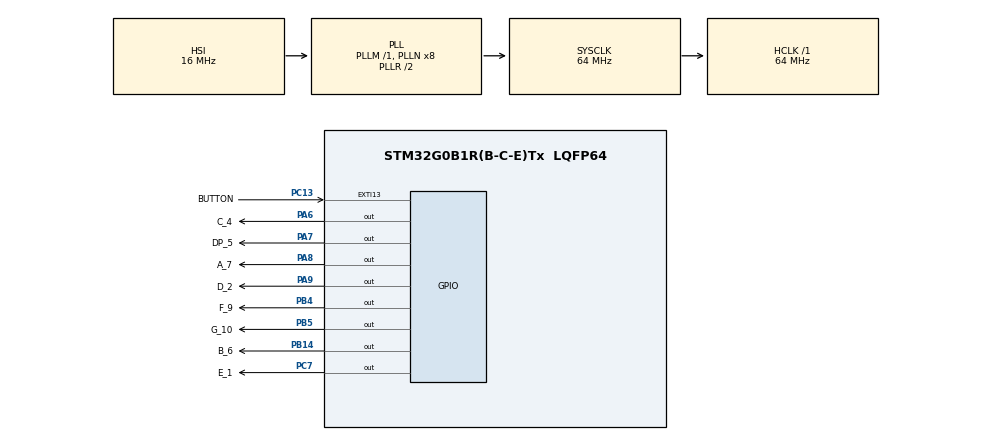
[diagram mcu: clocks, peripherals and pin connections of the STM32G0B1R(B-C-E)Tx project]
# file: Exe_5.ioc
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Mcu.Family=STM32G0
Mcu.Name=STM32G0B1R(B-C-E)Tx
Mcu.Package=LQFP64
NVIC.EXTI4_15_IRQn=true\:0\:0\:false\:false\:true\:true\:true
PA13.Mode=Serial_Wire
PA13.Signal=SYS_SWDIO
PA14-BOOT0.Mode=Serial_Wire
PA14-BOOT0.Signal=SYS_SWCLK
PA6.GPIO_Label=C_4
PA6.Signal=GPIO_Output
PA7.GPIO_Label=DP_5
PA7.Signal=GPIO_Output
PA8.GPIO_Label=A_7
PA8.Signal=GPIO_Output
PA9.GPIO_Label=D_2
PA9.Signal=GPIO_Output
PB14.GPIO_Label=B_6
PB14.Signal=GPIO_Output
PB4.GPIO_Label=F_9
PB4.Signal=GPIO_Output
PB5.GPIO_Label=G_10
PB5.Signal=GPIO_Output
PC13.GPIO_Label=BUTTON
PC13.GPIO_ModeDefaultEXTI=GPIO_MODE_IT_RISING
PC13.Signal=GPXTI13
PC7.GPIO_Label=E_1
PC7.Signal=GPIO_Output
ProjectManager.HeapSize=0x200
ProjectManager.StackSize=0x400
ProjectManager.TargetToolchain=STM32CubeIDE
RCC.ADCFreq_Value=64000000
RCC.AHBFreq_Value=64000000
RCC.CortexFreq_Value=64000000
RCC.EXTERNAL_CLOCK_VALUE=48000
RCC.HCLKFreq_Value=64000000
RCC.HSE_VALUE=8000000
RCC.HSI48_VALUE=48000000
RCC.HSI_VALUE=16000000
RCC.LSE_VALUE=32768
RCC.SYSCLKFreq_VALUE=64000000
RCC.SYSCLKSource=RCC_SYSCLKSOURCE_PLLCLK
RCC.USBFreq_Value=48000000
RCC.VCOOutputFreq_Value=128000000
VP_SYS_VS_DBSignals.Mode=DisableDeadBatterySignals
board=custom

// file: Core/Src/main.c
/* USER CODE BEGIN Header */
/**
  ******************************************************************************
  * @file           : main.c
  * @brief          : Main program body
  ******************************************************************************
  * @attention
  *
  * Copyright (c) 2022 STMicroelectronics.
  * All rights reserved.
  *
  * This software is licensed under terms that can be found in the LICENSE file
  * in the root directory of this software component.
  * If no LICENSE file comes with this software, it is provided AS-IS.
  *
  ******************************************************************************
  */
/* USER CODE END Header */
#include "main.h"

/* USER CODE BEGIN Includes */
#include <stdint.h>
/* USER CODE END Includes */

/* USER CODE BEGIN PTD */
	uint16_t Contador = 0;
/* USER CODE END PTD */

void SystemClock_Config(void);
static void MX_GPIO_Init(void);

/* USER CODE BEGIN 0 */
void HAL_GPIO_EXTI_Rising_Callback(uint16_t GPIO_Pin){
	HAL_GPIO_WritePin(BUTTON_GPIO_Port, BUTTON_Pin, GPIO_PIN_RESET);
	Contador++;

	if(Contador > 9){
		Contador = 0;
	}
}
/* USER CODE END 0 */

int main(void)
{

  /* MCU Configuration--------------------------------------------------------*/

  /* Reset of all peripherals, Initializes the Flash interface and the Systick. */
  HAL_Init();

  /* Configure the system clock */
  SystemClock_Config();

  /* Initialize all configured peripherals */
  MX_GPIO_Init();

  /* Infinite loop */
  /* USER CODE BEGIN WHILE */
  while (1)
  {

	  HAL_Delay(1);

	  switch(Contador) {
	  	  case 0:
	  	  		HAL_GPIO_WritePin(A_7_GPIO_Port, A_7_Pin, 1);
	  	  	  	HAL_GPIO_WritePin(B_6_GPIO_Port, B_6_Pin, 1);
	  	  	  	HAL_GPIO_WritePin(C_4_GPIO_Port, C_4_Pin, 1);
	  	  	  	HAL_GPIO_WritePin(D_2_GPIO_Port, D_2_Pin, 1);
	  	  	  	HAL_GPIO_WritePin(E_1_GPIO_Port, E_1_Pin, 1);
	  	  	  	HAL_GPIO_WritePin(F_9_GPIO_Port, F_9_Pin, 1);
	  	  	  	HAL_GPIO_WritePin(G_10_GPIO_Port, G_10_Pin, 0);
	  	  	  	HAL_GPIO_WritePin(DP_5_GPIO_Port, DP_5_Pin, 0);

	  	  break;

	  	  case 1:
	  	  	  		HAL_GPIO_WritePin(A_7_GPIO_Port, A_7_Pin, 0);
	  	  	  		HAL_GPIO_WritePin(B_6_GPIO_Port, B_6_Pin, 1);
	  	  	  		HAL_GPIO_WritePin(C_4_GPIO_Port, C_4_Pin, 1);
	  	  	  		HAL_GPIO_WritePin(D_2_GPIO_Port, D_2_Pin, 0);
	  	  	  		HAL_GPIO_WritePin(E_1_GPIO_Port, E_1_Pin, 0);
	  	  	  		HAL_GPIO_WritePin(F_9_GPIO_Port, F_9_Pin, 0);
	  	  	  		HAL_GPIO_WritePin(G_10_GPIO_Port, G_10_Pin, 0);
	  	  	  		HAL_GPIO_WritePin(DP_5_GPIO_Port, DP_5_Pin, 0);

	  	  	  		  break;

	  	  	  	  case 2:
	  	  	  		HAL_GPIO_WritePin(A_7_GPIO_Port, A_7_Pin, 1);
	  	  	  		HAL_GPIO_WritePin(B_6_GPIO_Port, B_6_Pin, 1);
	  	  	  		HAL_GPIO_WritePin(C_4_GPIO_Port, C_4_Pin, 0);
	  	  	  		HAL_GPIO_WritePin(D_2_GPIO_Port, D_2_Pin, 1);
	  	  	  		HAL_GPIO_WritePin(E_1_GPIO_Port, E_1_Pin, 1);
	  	  	  		HAL_GPIO_WritePin(F_9_GPIO_Port, F_9_Pin, 0);
	  	  	  		HAL_GPIO_WritePin(G_10_GPIO_Port, G_10_Pin, 1);
	  	  	  		HAL_GPIO_WritePin(DP_5_GPIO_Port, DP_5_Pin, 0);

	  	  	  		  break;

	  	  	  	  case 3:
	  	  	  		HAL_GPIO_WritePin(A_7_GPIO_Port, A_7_Pin, 1);
	  	  	  		HAL_GPIO_WritePin(B_6_GPIO_Port, B_6_Pin, 0);
	  	  	  		HAL_GPIO_WritePin(C_4_GPIO_Port, C_4_Pin, 0);
	  	  	  		HAL_GPIO_WritePin(D_2_GPIO_Port, D_2_Pin, 1);
	  	  	  		HAL_GPIO_WritePin(E_1_GPIO_Port, E_1_Pin, 1);
	  	  	  		HAL_GPIO_WritePin(F_9_GPIO_Port, F_9_Pin, 1);
	  				HAL_GPIO_WritePin(G_10_GPIO_Port, G_10_Pin, 1);
	  				HAL_GPIO_WritePin(DP_5_GPIO_Port, DP_5_Pin, 0);

	  	  	  		  break;

	  	  	  	  case 4:
	  	  	  		HAL_GPIO_WritePin(A_7_GPIO_Port, A_7_Pin, 0);
	  				HAL_GPIO_WritePin(B_6_GPIO_Port, B_6_Pin, 0);
	  				HAL_GPIO_WritePin(C_4_GPIO_Port, C_4_Pin, 1);
	  				HAL_GPIO_WritePin(D_2_GPIO_Port, D_2_Pin, 0);
	  				HAL_GPIO_WritePin(E_1_GPIO_Port, E_1_Pin, 1);
	  				HAL_GPIO_WritePin(F_9_GPIO_Port, F_9_Pin, 1);
	  				HAL_GPIO_WritePin(G_10_GPIO_Port, G_10_Pin, 1);
	  				HAL_GPIO_WritePin(DP_5_GPIO_Port, DP_5_Pin, 0);

	  	  	  		  break;

	  	  	  	  case 5:
	  	  	  		HAL_GPIO_WritePin(A_7_GPIO_Port, A_7_Pin, 1);
	  				HAL_GPIO_WritePin(B_6_GPIO_Port, B_6_Pin, 0);
	  				HAL_GPIO_WritePin(C_4_GPIO_Port, C_4_Pin, 1);
	  				HAL_GPIO_WritePin(D_2_GPIO_Port, D_2_Pin, 1);
	  				HAL_GPIO_WritePin(E_1_GPIO_Port, E_1_Pin, 0);
	  				HAL_GPIO_WritePin(F_9_GPIO_Port, F_9_Pin, 1);
	  				HAL_GPIO_WritePin(G_10_GPIO_Port, G_10_Pin, 1);
	  				HAL_GPIO_WritePin(DP_5_GPIO_Port, DP_5_Pin, 0);

	  	  	  		  break;

	  	  	  	  case 6:
	  	  	  		HAL_GPIO_WritePin(A_7_GPIO_Port, A_7_Pin, 1);
	  				HAL_GPIO_WritePin(B_6_GPIO_Port, B_6_Pin, 1);
	  				HAL_GPIO_WritePin(C_4_GPIO_Port, C_4_Pin, 1);
	  				HAL_GPIO_WritePin(D_2_GPIO_Port, D_2_Pin, 1);
	  				HAL_GPIO_WritePin(E_1_GPIO_Port, E_1_Pin, 0);
	  				HAL_GPIO_WritePin(F_9_GPIO_Port, F_9_Pin, 1);
	  				HAL_GPIO_WritePin(G_10_GPIO_Port, G_10_Pin, 1);
	  				HAL_GPIO_WritePin(DP_5_GPIO_Port, DP_5_Pin, 0);

	  	  	  		  break;

	  	  	  	  case 7:
	  	  	  		HAL_GPIO_WritePin(A_7_GPIO_Port, A_7_Pin, 0);
	  				HAL_GPIO_WritePin(B_6_GPIO_Port, B_6_Pin, 0);
	  				HAL_GPIO_WritePin(C_4_GPIO_Port, C_4_Pin, 0);
	  				HAL_GPIO_WritePin(D_2_GPIO_Port, D_2_Pin, 1);
	  				HAL_GPIO_WritePin(E_1_GPIO_Port, E_1_Pin, 1);
	  				HAL_GPIO_WritePin(F_9_GPIO_Port, F_9_Pin, 1);
	  				HAL_GPIO_WritePin(G_10_GPIO_Port, G_10_Pin, 0);
	  				HAL_GPIO_WritePin(DP_5_GPIO_Port, DP_5_Pin, 0);

	  	  	  		  break;

	  	  	  	  case 8:
	  	  	  		  HAL_GPIO_WritePin(A_7_GPIO_Port, A_7_Pin, 1);
	  	  	  		  HAL_GPIO_WritePin(B_6_GPIO_Port, B_6_Pin, 1);
	  	  	  		  HAL_GPIO_WritePin(C_4_GPIO_Port, C_4_Pin, 1);
	  	  	  		  HAL_GPIO_WritePin(D_2_GPIO_Port, D_2_Pin, 1);
	  	  	  		  HAL_GPIO_WritePin(E_1_GPIO_Port, E_1_Pin, 1);
	  	  	  		  HAL_GPIO_WritePin(F_9_GPIO_Port, F_9_Pin, 1);
	  	  	  		  HAL_GPIO_WritePin(G_10_GPIO_Port, G_10_Pin, 1);
	  	  	  		  HAL_GPIO_WritePin(DP_5_GPIO_Port, DP_5_Pin, 0);

	  	  	  		  break;

	  	  	  	  case 9:
	  	  	  		  HAL_GPIO_WritePin(A_7_GPIO_Port, A_7_Pin, 1);
	  	  	  		  HAL_GPIO_WritePin(B_6_GPIO_Port, B_6_Pin, 0);
	  	  	  		  HAL_GPIO_WritePin(C_4_GPIO_Port, C_4_Pin, 1);
	  	  	  		  HAL_GPIO_WritePin(D_2_GPIO_Port, D_2_Pin, 1);
	  	  	  		  HAL_GPIO_WritePin(E_1_GPIO_Port, E_1_Pin, 1);
	  	  	  		  HAL_GPIO_WritePin(F_9_GPIO_Port, F_9_Pin, 1);
	  	  	  		  HAL_GPIO_WritePin(G_10_GPIO_Port, G_10_Pin, 1);
	  	  	  		  HAL_GPIO_WritePin(DP_5_GPIO_Port, DP_5_Pin, 0);

	  	  	  		  break;
	  	  	  	  default:

	  	  	  		  break;
	  }

    /* USER CODE END WHILE */

  }
}

void SystemClock_Config(void)
{
  RCC_OscInitTypeDef RCC_OscInitStruct = {0};
  RCC_ClkInitTypeDef RCC_ClkInitStruct = {0};

  /** Configure the main internal regulator output voltage
  */
  HAL_PWREx_ControlVoltageScaling(PWR_REGULATOR_VOLTAGE_SCALE1);
  /** Initializes the RCC Oscillators according to the specified parameters
  * in the RCC_OscInitTypeDef structure.
  */
  RCC_OscInitStruct.OscillatorType = RCC_OSCILLATORTYPE_HSI;
  RCC_OscInitStruct.HSIState = RCC_HSI_ON;
  RCC_OscInitStruct.HSIDiv = RCC_HSI_DIV1;
  RCC_OscInitStruct.HSICalibrationValue = RCC_HSICALIBRATION_DEFAULT;
  RCC_OscInitStruct.PLL.PLLState = RCC_PLL_ON;
  RCC_OscInitStruct.PLL.PLLSource = RCC_PLLSOURCE_HSI;
  RCC_OscInitStruct.PLL.PLLM = RCC_PLLM_DIV1;
  RCC_OscInitStruct.PLL.PLLN = 8;
  RCC_OscInitStruct.PLL.PLLP = RCC_PLLP_DIV2;
  RCC_OscInitStruct.PLL.PLLQ = RCC_PLLQ_DIV2;
  RCC_OscInitStruct.PLL.PLLR = RCC_PLLR_DIV2;
  if (HAL_RCC_OscConfig(&RCC_OscInitStruct) != HAL_OK)
  {
    Error_Handler();
  }
  /** Initializes the CPU, AHB and APB buses clocks
  */
  RCC_ClkInitStruct.ClockType = RCC_CLOCKTYPE_HCLK|RCC_CLOCKTYPE_SYSCLK
                              |RCC_CLOCKTYPE_PCLK1;
  RCC_ClkInitStruct.SYSCLKSource = RCC_SYSCLKSOURCE_PLLCLK;
  RCC_ClkInitStruct.AHBCLKDivider = RCC_SYSCLK_DIV1;
  RCC_ClkInitStruct.APB1CLKDivider = RCC_HCLK_DIV1;

  if (HAL_RCC_ClockConfig(&RCC_ClkInitStruct, FLASH_LATENCY_2) != HAL_OK)
  {
    Error_Handler();
  }
}

static void MX_GPIO_Init(void)
{
  GPIO_InitTypeDef GPIO_InitStruct = {0};

  /* GPIO Ports Clock Enable */
  __HAL_RCC_GPIOC_CLK_ENABLE();
  __HAL_RCC_GPIOA_CLK_ENABLE();
  __HAL_RCC_GPIOB_CLK_ENABLE();

  /*Configure GPIO pin Output Level */
  HAL_GPIO_WritePin(GPIOA, C_4_Pin|DP_5_Pin|A_7_Pin|D_2_Pin, GPIO_PIN_RESET);

  /*Configure GPIO pin Output Level */
  HAL_GPIO_WritePin(GPIOB, B_6_Pin|F_9_Pin|G_10_Pin, GPIO_PIN_RESET);

  /*Configure GPIO pin Output Level */
  HAL_GPIO_WritePin(E_1_GPIO_Port, E_1_Pin, GPIO_PIN_RESET);

  /*Configure GPIO pin : BUTTON_Pin */
  GPIO_InitStruct.Pin = BUTTON_Pin;
  GPIO_InitStruct.Mode = GPIO_MODE_IT_RISING;
  GPIO_InitStruct.Pull = GPIO_NOPULL;
  HAL_GPIO_Init(BUTTON_GPIO_Port, &GPIO_InitStruct);

  /*Configure GPIO pins : C_4_Pin DP_5_Pin A_7_Pin D_2_Pin */
  GPIO_InitStruct.Pin = C_4_Pin|DP_5_Pin|A_7_Pin|D_2_Pin;
  GPIO_InitStruct.Mode = GPIO_MODE_OUTPUT_PP;
  GPIO_InitStruct.Pull = GPIO_NOPULL;
  GPIO_InitStruct.Speed = GPIO_SPEED_FREQ_LOW;
  HAL_GPIO_Init(GPIOA, &GPIO_InitStruct);

  /*Configure GPIO pins : B_6_Pin F_9_Pin G_10_Pin */
  GPIO_InitStruct.Pin = B_6_Pin|F_9_Pin|G_10_Pin;
  GPIO_InitStruct.Mode = GPIO_MODE_OUTPUT_PP;
  GPIO_InitStruct.Pull = GPIO_NOPULL;
  GPIO_InitStruct.Speed = GPIO_SPEED_FREQ_LOW;
  HAL_GPIO_Init(GPIOB, &GPIO_InitStruct);

  /*Configure GPIO pin : E_1_Pin */
  GPIO_InitStruct.Pin = E_1_Pin;
  GPIO_InitStruct.Mode = GPIO_MODE_OUTPUT_PP;
  GPIO_InitStruct.Pull = GPIO_NOPULL;
  GPIO_InitStruct.Speed = GPIO_SPEED_FREQ_LOW;
  HAL_GPIO_Init(E_1_GPIO_Port, &GPIO_InitStruct);

  /* EXTI interrupt init*/
  HAL_NVIC_SetPriority(EXTI4_15_IRQn, 0, 0);
  HAL_NVIC_EnableIRQ(EXTI4_15_IRQn);

}

void Error_Handler(void)
{
  __disable_irq();
  while (1)
  {
  }
}
